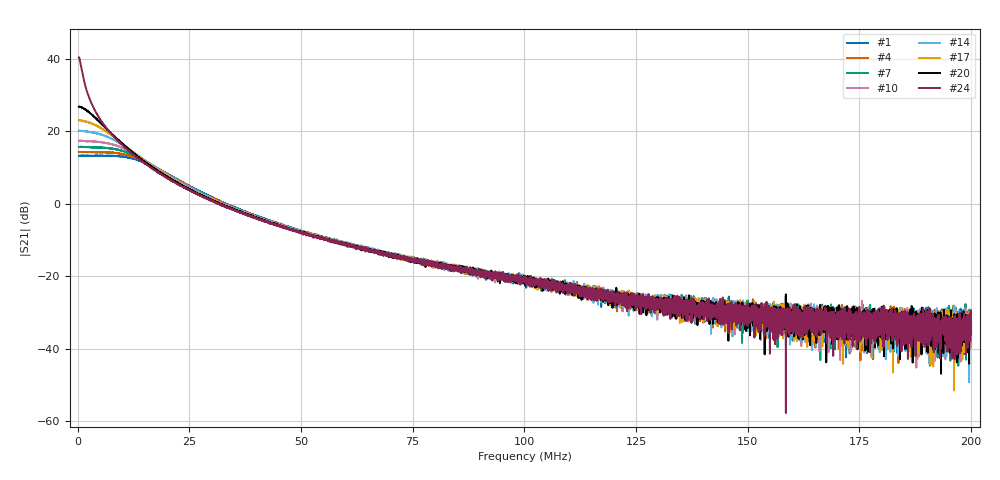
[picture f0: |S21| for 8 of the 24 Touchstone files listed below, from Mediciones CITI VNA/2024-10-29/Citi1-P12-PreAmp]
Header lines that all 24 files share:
# Hz S DB R 50
! CMT, M5065, 19127446, 24.2.4/2
! Data: Format (Calibration Info)
! Freq	S11:dB/Ang(F2)	S21:dB/Ang(F2)	S12:dB/Ang(F2)	S22:dB/Ang(F2)
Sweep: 300 kHz to 200 MHz
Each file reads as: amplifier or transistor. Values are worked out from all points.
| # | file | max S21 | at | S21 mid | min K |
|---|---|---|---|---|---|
| 1 | ganancia_40.s2p | 13.4 dB | 4.073 MHz | -20.2 dB at 100.2 MHz | 3.58 |
| 2 | ganancia_41.s2p | 13.7 dB | 1.165 MHz | -21.1 dB at 100.2 MHz | 2.19 |
| 3 | ganancia_42.s2p | 14.0 dB | 4.627 MHz | -21.3 dB at 100.2 MHz | 2.57 |
| 4 | ganancia_43.s2p | 14.4 dB | 2.031 MHz | -21.5 dB at 100.2 MHz | 2.52 |
| 5 | ganancia_44.s2p | 15.0 dB | 1.543 MHz | -20.4 dB at 100.2 MHz | 2.48 |
| 6 | ganancia_45.s2p | 15.3 dB | 433.1 kHz | -21.2 dB at 100.2 MHz | 2.26 |
| 7 | ganancia_46.s2p | 15.8 dB | 1.01 MHz | -20.4 dB at 100.2 MHz | 2.25 |
| 8 | ganancia_47.s2p | 16.3 dB | 1.964 MHz | -20.6 dB at 100.2 MHz | 2.16 |
| 9 | ganancia_48.s2p | 17.0 dB | 832.6 kHz | -21.1 dB at 100.2 MHz | 2.32 |
| 10 | ganancia_49.s2p | 17.5 dB | 832.6 kHz | -21.6 dB at 100.2 MHz | 1.65 |
| 11 | ganancia_50.s2p | 18.0 dB | 588.5 kHz | -21.3 dB at 100.2 MHz | 1.79 |
| 12 | ganancia_51.s2p | 18.6 dB | 499.7 kHz | -21.9 dB at 100.2 MHz | 1.43 |
| 13 | ganancia_52.s2p | 19.5 dB | 433.1 kHz | -21.5 dB at 100.2 MHz | 1.64 |
| 14 | ganancia_53.s2p | 20.2 dB | 766 kHz | -21.9 dB at 100.2 MHz | 1.46 |
| 15 | ganancia_54.s2p | 21.0 dB | 477.5 kHz | -21.4 dB at 100.2 MHz | 1.32 |
| 16 | ganancia_55.s2p | 21.8 dB | 455.3 kHz | -20.9 dB at 100.2 MHz | 1.32 |
| 17 | ganancia_56.s2p | 23.1 dB | 388.8 kHz | -20.6 dB at 100.2 MHz | 1.23 |
| 18 | ganancia_57.s2p | 24.2 dB | 366.6 kHz | -21.1 dB at 100.2 MHz | 0.78 |
| 19 | ganancia_58.s2p | 25.4 dB | 366.6 kHz | -21.1 dB at 100.2 MHz | 1.06 |
| 20 | ganancia_59.s2p | 26.9 dB | 388.8 kHz | -20.4 dB at 100.2 MHz | -319.39 |
| 21 | ganancia_60.s2p | 29.5 dB | 388.8 kHz | -21.6 dB at 100.2 MHz | 0.71 |
| 22 | ganancia_61.s2p | 31.9 dB | 344.4 kHz | -21.5 dB at 100.2 MHz | 0.70 |
| 23 | ganancia_62.s2p | 35.4 dB | 300 kHz | -20.0 dB at 100.2 MHz | 0.62 |
| 24 | ganancia_63.s2p | 40.5 dB | 322.2 kHz | -20.6 dB at 100.2 MHz | 0.58 |
